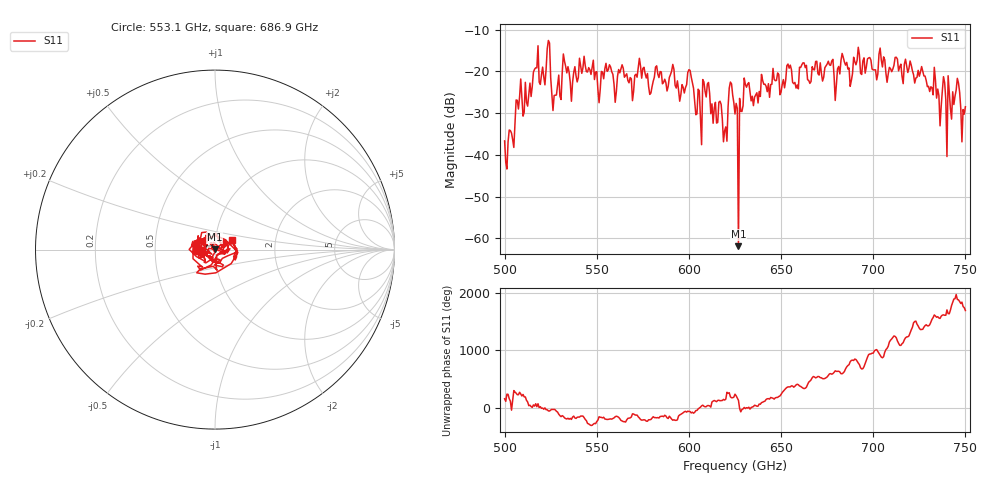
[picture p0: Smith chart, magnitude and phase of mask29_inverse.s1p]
!Created with skrf (http://scikit-rf.org).
# GHz S MA R 50.0
!freq magS11 angS11
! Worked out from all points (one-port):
!   401 points, 500 GHz to 750 GHz, reference 50 ohm
!   lowest |S11| = -61.9 dB at 626.9 GHz (marker M1), VSWR 1.00, Z = 49.9 + j0.0632 ohm
!   |S11| at or under -10 dB: start of sweep to end of sweep
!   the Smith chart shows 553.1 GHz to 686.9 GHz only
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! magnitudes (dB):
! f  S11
! 500 GHz  -36.6
! 516.9 GHz  -19.1
! 520.6 GHz  -19.0
! 523.8 GHz  -12.6
! 526.9 GHz  -25.7
! 531.2 GHz  -20.3
! 562.5 GHz  -20.3
! 579.4 GHz  -25.2
! 590.6 GHz  -19.9
! 593.8 GHz  -22.3
! 600.6 GHz  -19.7
! 605.6 GHz  -24.6
! 609.4 GHz  -26.1
! 619.4 GHz  -34.2
! 622.5 GHz  -22.5
! 625 GHz  -30.2
! 625.6 GHz  -27.7
! 626.9 GHz  -61.9
! 631.2 GHz  -23.8
! 636.2 GHz  -25.6
! 656.2 GHz  -22.6
! 676.9 GHz  -18.5
! 680 GHz  -23.0
! 683.8 GHz  -16.6
! 687.5 GHz  -23.6
! 691.2 GHz  -17.4
! 718.8 GHz  -20.2
! 750 GHz  -28.5
